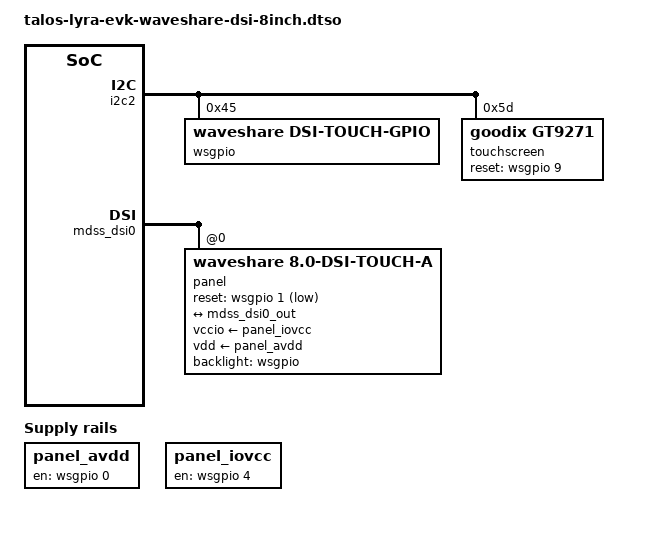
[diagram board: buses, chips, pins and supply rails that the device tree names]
// SPDX-License-Identifier: BSD-3-Clause
/*
 * Copyright (c) Qualcomm Technologies, Inc. and/or its subsidiaries.
 */
/dts-v1/;
/plugin/;

#include <dt-bindings/gpio/gpio.h>

&{/} {
	panel_avdd: regulator-panel-avdd {
		compatible = "regulator-fixed";
		regulator-name = "panel-avdd";
		gpios = <&wsgpio 0 GPIO_ACTIVE_HIGH>;
		enable-active-high;
	};

	panel_iovcc: regulator-panel-iovcc {
		compatible = "regulator-fixed";
		regulator-name = "panel-iovcc";
		gpios = <&wsgpio 4 GPIO_ACTIVE_HIGH>;
		enable-active-high;
	};
};

&hdmi_bridge {
	status = "disabled";
};

&hdmi_connector {
	status = "disabled";
};

&i2c2 {
	#address-cells = <1>;
	#size-cells = <0>;

	wsgpio: gpio@45 {
		compatible = "waveshare,dsi-touch-gpio";
		reg = <0x45>;
		gpio-controller;
		#gpio-cells = <2>;
	};

	touchscreen@5d {
		compatible = "goodix,gt9271";
		reg = <0x5d>;
		reset-gpios = <&wsgpio 9 GPIO_ACTIVE_HIGH>;
	};
};

&mdss_dsi0 {
	#address-cells = <1>;
	#size-cells = <0>;

	panel@0 {
		compatible = "waveshare,8.0-dsi-touch-a", "jadard,jd9365da-h3";
		reg = <0>;

		reset-gpios = <&wsgpio 1 GPIO_ACTIVE_LOW>;
		vccio-supply = <&panel_iovcc>;
		vdd-supply = <&panel_avdd>;
		backlight = <&wsgpio>;

		port {
			panel_in: endpoint {
				remote-endpoint = <&mdss_dsi0_out>;
			};
		};
	};
};

&mdss_dsi0_out {
	remote-endpoint = <&panel_in>;
};
